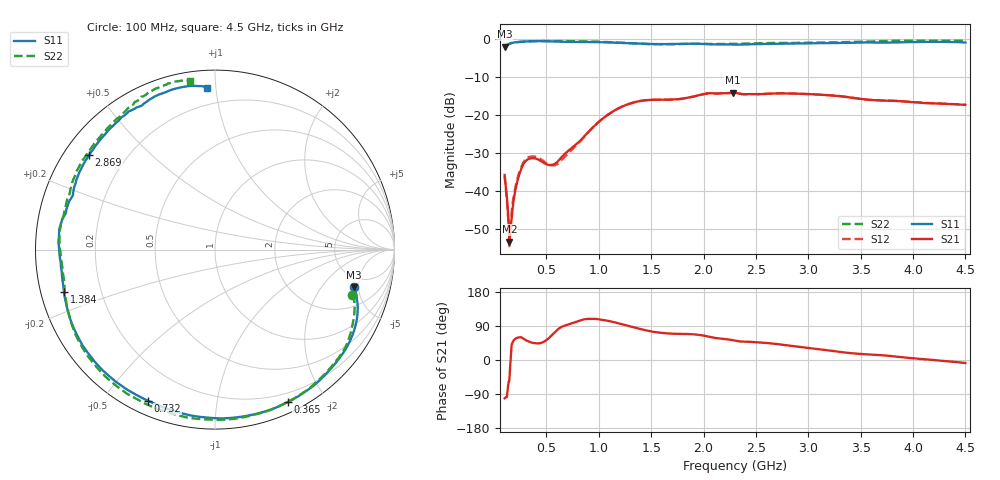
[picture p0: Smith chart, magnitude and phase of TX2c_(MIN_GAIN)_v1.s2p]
! Created Tue Apr 16 20:10:52 2013
# ghz S ma R 50
! 2 Port Network Data from SP1.SP block
! freq  magS11  angS11  magS21  angS21  magS12  angS12  magS22  angS22
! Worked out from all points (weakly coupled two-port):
!   4401 points, 100 MHz to 4.5 GHz, reference 50 ohm
!   highest |S21| = -14.04 dB at 2.278 GHz (marker M1); lowest = -53.2 dB at 145 MHz (marker M2)
!   lowest |S11| = -1.9 dB at 100 MHz (marker M3), VSWR 9.00, Z = 187 - j219 ohm
!   |S11| at or under -10 dB: nowhere
!   |S22| runs from -1.9 to -0.3 dB; largest |S21 - S12| = 0.0029
!   S11 on the Smith chart (normalised r, x): 100 MHz: 3.74, -4.37; 365 MHz: 0.11, -1.58; 732 MHz: 0.06, -0.65; 1.384 GHz: 0.07, -0.14; 2.869 GHz: 0.07, +0.33; 4.5 GHz: 0.10, +0.95
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0.1  0.8001 -15.2  0.01646 -101.0  0.01603 -100.0  0.8037 -18.2
0.114  0.8261 -17.6  0.01071 -98.5  0.01008 -97.3  0.8263 -20.2
0.132  0.8538 -21.4  0.005374 -71.2  0.004987 -64.7  0.853 -24.5
0.145  0.8702 -24.2  0.002197 -54.8  0.001909 -38.3  0.8697 -28.0
0.161  0.8861 -27.5  0.003707 16.2  0.004317 26.1  0.8866 -31.4
0.195  0.9077 -34.0  0.009089 54.3  0.01012 53.6  0.9068 -36.7
0.245  0.923 -43.6  0.0175 59.9  0.01875 58.8  0.9204 -45.6
0.297  0.9348 -52.7  0.02468 53.2  0.02633 51.9  0.9332 -54.6
0.365  0.9411 -64.6  0.02733 45.4  0.02901 43.4  0.9414 -65.8
0.467  0.9428 -80.5  0.02406 47.0  0.02538 42.6  0.9478 -81.1
0.575  0.9353 -95.7  0.02281 72.0  0.02196 65.4  0.9478 -95.4
0.732  0.9212 -113.8  0.03627 96.0  0.034 97.0  0.9428 -112.4
0.834  0.9202 -124.0  0.04825 105.5  0.04724 107.0  0.9398 -122.5
1.102  0.9062 -146.8  0.1052 102.5  0.1051 102.9  0.9172 -144.5
1.384  0.8736 -164.3  0.1534 82.7  0.1536 82.7  0.8725 -162.5
1.567  0.863 -172.7  0.16 72.6  0.1602 72.5  0.8578 -170.9
2.278  0.8507 160.2  0.1986 52.3  0.1978 52.2  0.8683 160.0
2.3  0.848 159.5  0.1978 50.9  0.1972 50.9  0.8671 159.2
2.869  0.878 143.1  0.1935 36.2  0.1931 36.3  0.8939 139.0
3.034  0.8831 138.1  0.1894 30.8  0.1894 30.9  0.8994 133.9
3.767  0.9049 116.0  0.1556 11.0  0.1562 11.0  0.9484 113.2
4.5  0.9037 92.8  0.1372 -8.0  0.1374 -8.2  0.9496 98.3
